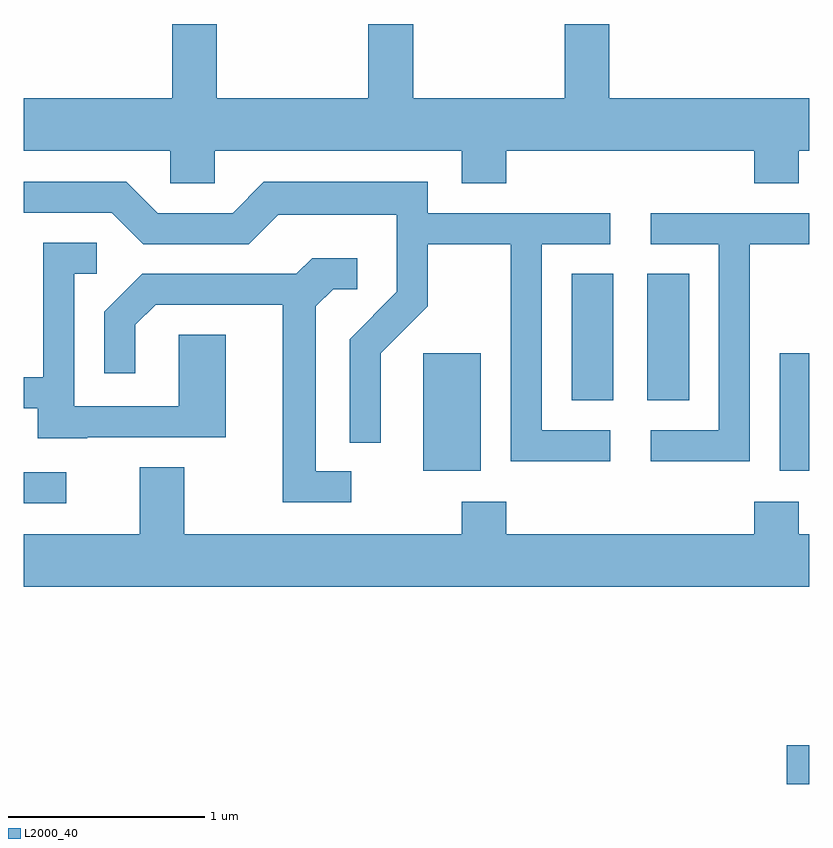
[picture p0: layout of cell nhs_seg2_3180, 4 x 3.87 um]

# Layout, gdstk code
import gdstk
lib = gdstk.Library(unit=1e-6, precision=1e-09)
def R(c, l, rs):  # rectangles x0, y0, x1, y1
    for r in rs: c.add(gdstk.rectangle(r[:2], r[2:], *l))
def P(c, l, *ps):  # polygons
    for p in ps: c.add(gdstk.Polygon(p, *l))
L2000_40 = (2000, 40)

nhs_seg2_3180 = lib.new_cell('nhs_seg2_3180')
R(nhs_seg2_3180, L2000_40, [(281.496,1093.931,281.611,1094.129), (277.611,1095.361,277.828,1095.519), (279.646,1095.526,279.939,1096.124), (281.461,1095.526,281.611,1096.124), (280.401,1095.886,280.614,1096.529), (280.786,1095.886,280.999,1096.529)])
P(nhs_seg2_3180, L2000_40, [(278.584,1097.156),(279.841,1097.156),(279.841,1096.991),(280.069,1096.991),(280.069,1097.156),(281.331,1097.156),(281.331,1096.991),(281.559,1096.991),(281.559,1097.156),(281.611,1097.156),(281.611,1097.424),(280.594,1097.424),(280.594,1097.802),(280.366,1097.802),(280.366,1097.424),(279.594,1097.424),(279.594,1097.802),(279.366,1097.802),(279.366,1097.424),(278.594,1097.424),(278.594,1097.802),(278.366,1097.802),(278.366,1097.424),(277.611,1097.424),(277.611,1097.156),(278.356,1097.156),(278.356,1096.991),(278.584,1096.991)],
  [(280.598,1095.734),(280.249,1095.734),(280.249,1096.681),(280.598,1096.681),(280.598,1096.839),(279.669,1096.839),(279.669,1096.999),(278.834,1096.999),(278.674,1096.839),(278.292,1096.839),(278.132,1096.999),(277.611,1096.999),(277.611,1096.841),(278.059,1096.841),(278.219,1096.681),(278.757,1096.681),(278.907,1096.831),(279.511,1096.831),(279.511,1096.437),(279.271,1096.197),(279.271,1095.668),(279.429,1095.668),(279.429,1096.124),(279.669,1096.364),(279.669,1096.681),(280.091,1096.681),(280.091,1095.576),(280.598,1095.576)],
  [(281.309,1096.681),(281.611,1096.681),(281.611,1096.839),(280.803,1096.839),(280.803,1096.681),(281.151,1096.681),(281.151,1095.734),(280.803,1095.734),(280.803,1095.576),(281.309,1095.576)],
  [(277.935,1095.696),(278.639,1095.696),(278.639,1096.219),(278.401,1096.219),(278.401,1095.854),(277.869,1095.854),(277.869,1096.531),(277.983,1096.531),(277.983,1096.689),(277.711,1096.689),(277.711,1096.004),(277.611,1096.004),(277.611,1095.846),(277.681,1095.846),(277.681,1095.691),(277.935,1095.691)],
  [(279.278,1095.524),(279.099,1095.524),(279.099,1096.364),(279.187,1096.451),(279.308,1096.451),(279.308,1096.609),(279.079,1096.609),(278.999,1096.529),(278.214,1096.529),(278.021,1096.337),(278.021,1096.023),(278.179,1096.023),(278.179,1096.269),(278.282,1096.371),(278.931,1096.371),(278.931,1095.366),(279.278,1095.366)],
  [(281.611,1095.204),(281.559,1095.204),(281.559,1095.369),(281.331,1095.369),(281.331,1095.204),(280.069,1095.204),(280.069,1095.369),(279.841,1095.369),(279.841,1095.204),(278.429,1095.204),(278.429,1095.544),(278.201,1095.544),(278.201,1095.204),(277.611,1095.204),(277.611,1094.936),(281.611,1094.936)])

lib.write_gds('nhs_seg2_3180.gds')
